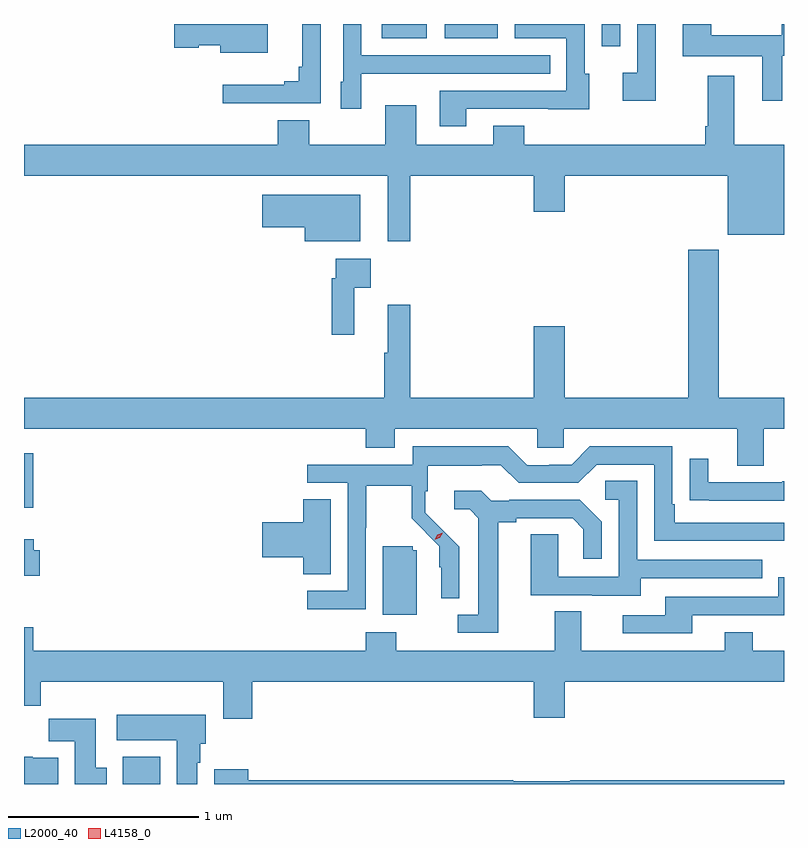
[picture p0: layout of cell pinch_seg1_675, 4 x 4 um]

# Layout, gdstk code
import gdstk
lib = gdstk.Library(unit=1e-6, precision=1e-09)
def R(c, l, rs):  # rectangles x0, y0, x1, y1
    for r in rs: c.add(gdstk.rectangle(r[:2], r[2:], *l))
def P(c, l, *ps):  # polygons
    for p in ps: c.add(gdstk.Polygon(p, *l))
L2000_40 = (2000, 40)
L4158_0 = (4158, 0)

pinch_seg1_675 = lib.new_cell('pinch_seg1_675')
R(pinch_seg1_675, L2000_40, [(666.341,568.511,666.538,568.654), (665.821,569.966,665.87,570.253), (668.862,572.394,668.958,572.511), (667.703,572.435,667.942,572.511), (668.036,572.435,668.314,572.511)])
P(pinch_seg1_675, L2000_40, [(669.145,572.511),(669.048,572.511),(669.048,572.254),(668.973,572.254),(668.973,572.106),(669.145,572.106)],
  [(669.811,572.344),(669.821,572.344),(669.821,572.511),(669.81,572.511),(669.81,572.452),(669.439,572.452),(669.439,572.511),(669.287,572.511),(669.287,572.342),(669.707,572.342),(669.707,572.106),(669.811,572.106)],
  [(668.149,572.064),(668.579,572.064),(668.579,572.063),(668.797,572.063),(668.797,572.25),(668.772,572.25),(668.772,572.511),(668.403,572.511),(668.403,572.436),(668.676,572.436),(668.676,572.16),(668.009,572.16),(668.009,571.974),(668.149,571.974)],
  [(667.105,572.511),(666.612,572.511),(666.612,572.387),(666.741,572.387),(666.741,572.399),(666.854,572.399),(666.854,572.36),(667.105,572.36)],
  [(667.383,572.511),(667.286,572.511),(667.286,572.287),(667.267,572.287),(667.267,572.21),(667.19,572.21),(667.19,572.191),(666.867,572.191),(666.867,572.094),(667.383,572.094)],
  [(667.596,572.249),(667.913,572.249),(667.913,572.25),(668.591,572.25),(668.591,572.346),(667.596,572.346),(667.596,572.511),(667.5,572.511),(667.5,572.208),(667.487,572.208),(667.487,572.064),(667.596,572.064)],
  [(667.853,571.712),(668.504,571.712),(668.504,571.524),(668.668,571.524),(668.668,571.712),(669.524,571.712),(669.524,571.403),(669.821,571.403),(669.821,571.876),(669.559,571.876),(669.559,572.239),(669.419,572.239),(669.419,571.972),(669.407,571.972),(669.407,571.876),(668.455,571.876),(668.455,571.975),(668.291,571.975),(668.291,571.876),(667.885,571.876),(667.885,572.083),(667.721,572.083),(667.721,571.876),(667.321,571.876),(667.321,572.005),(667.157,572.005),(667.157,571.876),(665.821,571.876),(665.821,571.712),(667.736,571.712),(667.736,571.368),(667.853,571.368)],
  [(667.591,571.612),(667.074,571.612),(667.074,571.442),(667.298,571.442),(667.298,571.367),(667.591,571.367)],
  [(669.715,570.38),(669.821,570.38),(669.821,570.544),(669.477,570.544),(669.477,571.324),(669.317,571.324),(669.317,570.544),(668.668,570.544),(668.668,570.919),(668.504,570.919),(668.504,570.544),(667.853,570.544),(667.853,571.033),(667.736,571.033),(667.736,570.78),(667.717,570.78),(667.717,570.544),(665.821,570.544),(665.821,570.38),(667.619,570.38),(667.619,570.281),(667.771,570.281),(667.771,570.38),(668.523,570.38),(668.523,570.282),(668.661,570.282),(668.661,570.38),(669.575,570.38),(669.575,570.186),(669.715,570.186)],
  [(667.559,571.124),(667.645,571.124),(667.645,571.276),(667.461,571.276),(667.461,571.172),(667.441,571.172),(667.441,570.876),(667.559,570.876)],
  [(667.62,569.86),(667.623,569.86),(667.623,570.081),(667.861,570.081),(667.861,569.909),(668.007,569.762),(668.007,569.651),(668.016,569.651),(668.016,569.488),(668.112,569.488),(668.112,569.76),(667.933,569.939),(667.933,570.051),(667.946,570.051),(667.946,570.185),(668.231,570.185),(668.231,570.189),(668.331,570.189),(668.424,570.096),(668.739,570.096),(668.835,570.192),(669.138,570.192),(669.138,569.79),(669.821,569.79),(669.821,569.886),(669.247,569.886),(669.247,569.983),(669.234,569.983),(669.234,570.288),(668.799,570.288),(668.703,570.192),(668.585,570.192),(668.585,570.189),(668.469,570.189),(668.369,570.289),(667.866,570.289),(667.866,570.192),(667.311,570.192),(667.311,570.096),(667.524,570.096),(667.524,569.529),(667.311,569.529),(667.311,569.431),(667.62,569.431)],
  [(669.821,570.104),(669.811,570.104),(669.811,570.099),(669.421,570.099),(669.421,570.223),(669.325,570.223),(669.325,570.004),(669.427,570.004),(669.427,570.003),(669.821,570.003)],
  [(669.067,569.595),(669.707,569.595),(669.707,569.691),(669.048,569.691),(669.048,570.107),(668.88,570.107),(668.88,570.006),(668.952,570.006),(668.952,569.601),(668.634,569.601),(668.634,569.825),(668.489,569.825),(668.489,569.505),(668.813,569.505),(668.813,569.501),(669.067,569.501)],
  [(668.317,569.888),(668.413,569.888),(668.413,569.91),(668.708,569.91),(668.765,569.853),(668.765,569.697),(668.862,569.697),(668.862,569.89),(668.746,570.006),(668.374,570.006),(668.374,570.003),(668.28,570.003),(668.228,570.055),(668.085,570.055),(668.085,569.958),(668.166,569.958),(668.213,569.911),(668.213,569.403),(668.103,569.403),(668.103,569.307),(668.317,569.307)],
  [(667.435,570.011),(667.292,570.011),(667.292,569.888),(667.074,569.888),(667.074,569.705),(667.292,569.705),(667.292,569.614),(667.435,569.614)],
  [(665.903,569.742),(665.872,569.742),(665.872,569.8),(665.821,569.8),(665.821,569.606),(665.903,569.606)],
  [(667.888,569.742),(667.866,569.742),(667.866,569.763),(667.709,569.763),(667.709,569.402),(667.888,569.402)],
  [(669.337,569.4),(669.821,569.4),(669.821,569.599),(669.792,569.599),(669.792,569.496),(669.197,569.496),(669.197,569.4),(668.973,569.4),(668.973,569.304),(669.337,569.304)],
  [(667.022,569.048),(668.504,569.048),(668.504,568.86),(668.668,568.86),(668.668,569.048),(669.821,569.048),(669.821,569.212),(669.657,569.212),(669.657,569.311),(669.509,569.311),(669.509,569.212),(668.755,569.212),(668.755,569.42),(668.615,569.42),(668.615,569.212),(667.779,569.212),(667.779,569.311),(667.619,569.311),(667.619,569.212),(665.87,569.212),(665.87,569.336),(665.821,569.336),(665.821,568.924),(665.909,568.924),(665.909,569.048),(666.869,569.048),(666.869,568.854),(667.022,568.854)],
  [(666.733,568.622),(666.748,568.622),(666.748,568.722),(666.778,568.722),(666.778,568.876),(666.309,568.876),(666.309,568.742),(666.626,568.742),(666.626,568.511),(666.733,568.511)],
  [(666.256,568.596),(666.199,568.596),(666.199,568.855),(665.95,568.855),(665.95,568.736),(666.089,568.736),(666.089,568.511),(666.256,568.511)],
  [(666.001,568.648),(665.868,568.648),(665.868,568.654),(665.821,568.654),(665.821,568.511),(666.001,568.511)],
  [(669.821,568.532),(668.696,568.532),(668.696,568.525),(668.396,568.525),(668.396,568.532),(667,568.532),(667,568.588),(666.821,568.588),(666.821,568.511),(669.821,568.511)])
P(pinch_seg1_675, L4158_0, [(667.982,569.796),(667.982,569.797),(667.996,569.822),(668.024,569.833),(668.024,569.833),(668.024,569.833),(668.01,569.807),(667.982,569.796)])

lib.write_gds('pinch_seg1_675.gds')
